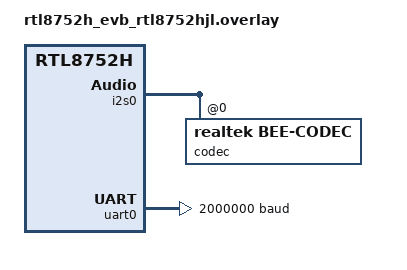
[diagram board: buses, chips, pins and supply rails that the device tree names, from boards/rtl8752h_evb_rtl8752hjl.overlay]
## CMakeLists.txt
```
# SPDX-License-Identifier: Apache-2.0

cmake_minimum_required(VERSION 3.20.0)

find_package(Zephyr REQUIRED HINTS $ENV{ZEPHYR_BASE})
project(i2s_bee)

target_sources(app PRIVATE src/main.c)
```

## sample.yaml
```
sample:
  name: Realtek Bee I2S TX/RX with CODEC
common:
  tags: i2s audio
tests:
  sample.drivers.i2s.bee:
    build_only: true
    platform_allow:
      - rtl8752h_evb/rtl8752hjl
      - rtl87x2g_evb_a/rtl8762gku
      - rtl87x2j_evb/rtl8762jth
    integration_platforms:
      - rtl87x2j_evb/rtl8762jth
```

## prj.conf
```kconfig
CONFIG_LOG=y
CONFIG_I2S=y
CONFIG_I2S_BEE=y
CONFIG_I2S_BEE_TX=y
CONFIG_I2S_BEE_RX=y
CONFIG_AUDIO=y
CONFIG_AUDIO_CODEC=y
CONFIG_AUDIO_CODEC_BEE=y
CONFIG_DMA=y
```

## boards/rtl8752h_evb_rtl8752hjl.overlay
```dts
/*
 * Copyright (c) 2026, Realtek Semiconductor Corporation
 *
 * SPDX-License-Identifier: Apache-2.0
 */

/ {
	aliases {
		dump-mic = &uart0;
		test-i2s = &i2s0;
		test-codec = &codec;
	};
};

&dma0 {
	status = "okay";
};

/* i2s_tx/i2s_rx/i2s_codec_rx */
&i2s0 {
	dmas = <&dma0 0 16 0x2a1>, <&dma0 1 17 0x648a>;
	dma-names = "tx", "rx";
	pinctrl-0 = <&i2s_default>;
	pinctrl-names = "default";
	status = "okay";

	/* internal codec tx/rx, delete if use external codec */
	codec: codec@0 {
		compatible = "realtek,bee-codec";
		reg = <0>;
		clocks = <&cctl APB_CLK(CODEC)>;
		channel-sequence = "l_l";
		mic-bias = "1_8";
		mic-bst-gain = "30dB";
		mic-bst-mode = "differential";
		mic-type = "amic"; /* amic */
		/* mic-type = "dmic"; /* dmic */
		dmic-data-latch = "rising_latch";
		ad-gain = <0x2f>;
		boost-gain = "0dB";
		pinctrl-0 = <&codec_default>;
		pinctrl-names = "default";
	};
};

&uart0 {
	pinctrl-0 = <&uart0_default>;
	pinctrl-names = "default";
	status = "okay";
	current-speed = <2000000>;
	parity = "none";
	stop-bits = "1";
	data-bits = <8>;
};

&pinctrl {
	i2s_default: i2s_default {
		group1 {
			psels = <BEE_PSEL(LRC_SPORT0, P4_0)>,
				<BEE_PSEL(BCLK_SPORT0, P4_1)>, /* i2s_tx/i2s_codec_rx waveform */
				<BEE_PSEL(DACDAT_SPORT0, P4_2)>; /* i2s_tx/i2s_codec_rx waveform */
			output-enable;
			output-low;
			bias-disable;
		};
	};

	codec_default: codec_default {
		group1 {
			psels = <BEE_PSEL(PWR_OFF, H_0)>, /* amic */
				<BEE_PSEL(PWR_OFF, P2_6)>, /* amic */
				<BEE_PSEL(PWR_OFF, P2_7)>; /* amic */
			/* <BEE_PSEL(DMIC1_CLK, P2_6)>, /* dmic */
			/* <BEE_PSEL(DMIC1_DAT, P2_7)>; /* dmic */
			output-disable;
			bias-disable;
		};
	};

	uart0_default: uart0_default {
		group1 {
			psels = <BEE_PSEL(UART0_TX, P0_0)>;
			output-enable;
			output-high;
			bias-pull-up;
		};
	};
};
```

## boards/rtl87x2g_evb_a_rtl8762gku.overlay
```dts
/*
 * Copyright (c) 2026, Realtek Semiconductor Corporation
 *
 * SPDX-License-Identifier: Apache-2.0
 */

/ {
	aliases {
		dump-mic = &uart0;
		test-i2s = &i2s0;
		test-codec = &codec;
	};
};

/* i2s_tx/i2s_rx/i2s_codec_tx/i2s_codec_rx */
&i2s0 {
	dmas = <&dma0 0 41 0x26a1>, <&dma0 1 42 0x648a>;
	dma-names = "tx", "rx";
	pinctrl-0 = <&i2s0_default>;
	pinctrl-names = "default";
	status = "okay";

	/* internal codec tx/rx, delete if use external codec */
	codec: codec@0 {
		compatible = "realtek,bee-codec";
		reg = <0>;
		clocks = <&cctl APB_CLK(CODEC)>;
		channel-sequence = "l_r";
		mic-bias = "1_8";
		mic-bst-gain = "30dB";
		mic-bst-mode = "differential";
		mic-type = "amic"; /* amic */
		/* mic-type = "dmic"; /* dmic */
		dmic-data-latch = "rising_latch";
		ad-gain = <0x2f>;
		boost-gain = "0dB";
		pinctrl-0 = <&codec_default>;
		pinctrl-names = "default";
		status = "okay";
	};
};

&dma0 {
	status = "okay";
};

&uart0 {
	pinctrl-0 = <&uart0_default>;
	pinctrl-names = "default";
	status = "okay";
	current-speed = <2000000>;
	parity = "none";
	stop-bits = "1";
	data-bits = <8>;
};

&pinctrl {
	i2s0_default: i2s0_default {
		group1 {
			psels = <BEE_PSEL(BCLK_SPORT0, P4_0)>,
				<BEE_PSEL(LRC_RX_SPORT0, P4_1)>, /* i2s_codec_rx waveform */
				<BEE_PSEL(LRC_SPORT0, P4_2)>, /* i2s_tx/i2s_codec_tx waveform */
				<BEE_PSEL(SDI_CODEC_SLAVE, P4_3)>, /* i2s_codec_rx/tx waveform */
				<BEE_PSEL(SDO_CODEC_SLAVE, P4_4)>, /* i2s_codec_rx/tx waveform */
				<BEE_PSEL(ADCDAT_SPORT0, P4_5)>, /* i2s_tx waveform */
				<BEE_PSEL(DACDAT_SPORT0, P4_6)>; /* i2s_tx waveform */
			output-enable;
			output-low;
			bias-disable;
		};
	};

	codec_default: codec_default {
		group1 {
			psels = <BEE_PSEL(PWR_OFF, P2_6)>, /* amic */
				<BEE_PSEL(PWR_OFF, P2_7)>, /* amic */
				<BEE_PSEL(PDM_CLK, P2_4)>, /* i2s_codec_tx waveform */
				<BEE_PSEL(PDM_DATA, P2_5)>; /* i2s_codec_tx waveform */
			/* <BEE_PSEL(DMIC1_CLK, P3_2)>, /* dmic */
			/* <BEE_PSEL(DMIC1_DAT, P3_3)>; /* dmic */
			output-disable;
			bias-disable;
		};
	};

	uart0_default: uart0_default {
		group1 {
			psels = <BEE_PSEL(UART0_TX, P0_0)>;
			output-enable;
			output-high;
			bias-pull-up;
		};
	};
};
```

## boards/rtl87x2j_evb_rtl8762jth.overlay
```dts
/*
 * Copyright (c) 2026, Realtek Semiconductor Corporation
 *
 * SPDX-License-Identifier: Apache-2.0
 */

/ {
	aliases {
		dump-mic = &uart0;
		test-i2s = &i2s0;
		test-codec = &codec;
	};
};

&dma0 {
	status = "okay";
};

/* i2s_tx/i2s_rx/i2s_codec_rx */
&i2s0 {
	dmas = <&dma0 0 16 0x26a1>, <&dma0 1 17 0x648a>;
	dma-names = "tx", "rx";
	pinctrl-0 = <&i2s0_default>;
	pinctrl-names = "default";
	status = "okay";

	/* internal codec rx, delete if use external codec */
	codec: codec@0 {
		compatible = "realtek,bee-codec";
		reg = <0>;
		clocks = <&cctl APB_CLK(CODEC)>;
		channel-sequence = "l_r";
		mic-bias = "1_8";
		mic-bst-gain = "30dB";
		mic-bst-mode = "differential";
		mic-type = "amic"; /* amic */
		/* mic-type = "dmic"; /* dmic */
		dmic-data-latch = "rising_latch";
		ad-gain = <0x2f>;
		boost-gain = "0dB";
		pinctrl-0 = <&codec_default>;
		pinctrl-names = "default";
		status = "okay";
	};
};

&uart0 {
	pinctrl-0 = <&uart0_default>;
	pinctrl-names = "default";
	status = "okay";
	current-speed = <2000000>;
	parity = "none";
	stop-bits = "1";
	data-bits = <8>;
};

&pinctrl {
	i2s0_default: i2s0_default {
		group1 {
			psels = <BEE_PSEL(BCLK_SPORT0, P2_0)>,
				<BEE_PSEL(LRC_SPORT0, P2_1)>, /* i2s_tx/i2s_codec_rx waveform */
				<BEE_PSEL(SDI_CODEC_SLAVE, P2_2)>, /* i2s_codec_rx waveform */
				<BEE_PSEL(SDO_CODEC_SLAVE, P2_3)>, /* i2s_codec_rx waveform */
				<BEE_PSEL(ADCDAT_SPORT0, P2_4)>, /* i2s_tx waveform */
				<BEE_PSEL(DACDAT_SPORT0, P2_5)>; /* i2s_tx waveform */
			output-disable;
			bias-disable;
		};
	};

	codec_default: codec_default {
		group1 {
			psels = <BEE_PSEL(PWR_OFF, P2_6)>, /* amic */
				<BEE_PSEL(PWR_OFF, P2_7)>; /* amic */
			/* <BEE_PSEL(DMIC1_CLK, P2_6)>, /* dmic */
			/* <BEE_PSEL(DMIC1_DAT, P2_7)>; /* dmic */
			output-disable;
			bias-disable;
		};

		group2 {
			psels = <BEE_PSEL(SW_MODE, MICBIAS)>; /* amic */
			output-enable;
			output-high;
			bias-disable;
		};
	};

	uart0_default: uart0_default {
		group1 {
			/* To avoid dummy data in RX fifo, which pulls qactive line */
			psels = <BEE_PSEL(UART0_TX, P0_0)>,
				<BEE_PSEL(UART0_RX, P0_1)>;
			output-disable;
			bias-pull-up;
		};
	};
};
```

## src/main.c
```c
/*
 * Copyright (c) 2026, Realtek Semiconductor Corporation
 *
 * SPDX-License-Identifier: Apache-2.0
 */

#include <zephyr/kernel.h>
#include <zephyr/device.h>
#include <string.h>
#include <stdio.h>
#include <zephyr/drivers/uart.h>
#include <zephyr/drivers/i2s.h>
#include <zephyr/audio/codec.h>

const struct device *dev_uart = DEVICE_DT_GET_OR_NULL(DT_ALIAS(dump_mic));
const struct device *dev_i2s = DEVICE_DT_GET_OR_NULL(DT_ALIAS(test_i2s));
const struct device *dev_codec = DEVICE_DT_GET_OR_NULL(DT_ALIAS(test_codec));

#define BLOCK_SIZE 256
#define NUM_RX_BLOCKS 2

K_MEM_SLAB_DEFINE(rx_mem_slab, BLOCK_SIZE, NUM_RX_BLOCKS, 32);
K_MEM_SLAB_DEFINE(tx_mem_slab, BLOCK_SIZE, NUM_RX_BLOCKS, 32);

#define TIMEOUT_SECONDS K_SECONDS(5)

static void i2s_timer_timeout(struct k_timer *timer);
K_TIMER_DEFINE(i2s_timer, i2s_timer_timeout, NULL);

uint8_t rx_buf[BLOCK_SIZE] __aligned(2);
uint8_t tx_buf[BLOCK_SIZE] __aligned(2);

volatile bool stop;

static void i2s_timer_timeout(struct k_timer *timer)
{
	k_timer_stop(timer);
	stop = true;
}

static void i2s_codec_rx_sample(void)
{
	int ret;

	struct audio_codec_cfg codec_cfg;
	audio_channel_t channel = AUDIO_CHANNEL_ALL;
	static audio_property_value_t val;

	if (!dev_codec) {
		printf("CODEC device not available on this board\n");
		return;
	}

	memset(&codec_cfg, 0, sizeof(struct audio_codec_cfg));
	codec_cfg.mclk_freq = 2500000;
	codec_cfg.dai_type = AUDIO_DAI_TYPE_I2S;
	codec_cfg.dai_cfg.i2s.frame_clk_freq = 16000;
	codec_cfg.dai_cfg.i2s.word_size = 16;
	codec_cfg.dai_cfg.i2s.channels = 1;
	codec_cfg.dai_cfg.i2s.format = I2S_FMT_DATA_FORMAT_I2S | I2S_FMT_DATA_ORDER_MSB;
	codec_cfg.dai_cfg.i2s.options =
		I2S_OPT_BIT_CLK_CONT | I2S_OPT_BIT_CLK_CONTROLLER |
		I2S_OPT_FRAME_CLK_CONTROLLER | I2S_OPT_PINGPONG;

	codec_cfg.dai_cfg.i2s.block_size = BLOCK_SIZE;
	codec_cfg.dai_cfg.i2s.mem_slab = &rx_mem_slab;
	codec_cfg.dai_cfg.i2s.timeout = SYS_FOREVER_MS;

	ret = audio_codec_configure(dev_codec, &codec_cfg);
	if (ret) {
		printf("[%s] ret%d line%d\n", __func__, ret, __LINE__);
	}

	val.vol = 0x2f;
	ret = audio_codec_set_property(dev_codec, AUDIO_PROPERTY_OUTPUT_VOLUME, channel, val);
	if (ret) {
		printf("[%s] ret%d line%d\n", __func__, ret, __LINE__);
	}

	ret = audio_codec_apply_properties(dev_codec);
	if (ret) {
		printf("[%s] ret%d line%d\n", __func__, ret, __LINE__);
	}

	/* init codec pin + init codec reg */
	audio_codec_start_output(dev_codec);

	/* enable i2s rcc + init i2s reg */
	codec_cfg.dai_cfg.i2s.frame_clk_freq = 16000;
	ret = i2s_configure(dev_i2s, I2S_DIR_RX, &codec_cfg.dai_cfg.i2s);
	if (ret) {
		printf("[%s] ret%d line%d\n", __func__, ret, __LINE__);
	}

	/* enable i2s + config dma + enable dma */
	ret = i2s_trigger(dev_i2s, I2S_DIR_RX, I2S_TRIGGER_START);
	if (ret) {
		printf("[%s] ret%d line%d\n", __func__, ret, __LINE__);
	}

	k_timer_start(&i2s_timer, TIMEOUT_SECONDS, K_NO_WAIT);
	while (!stop) {
		void *mem_block;
		size_t rx_size;
		const struct i2s_config *rx_cfg;

		ret = i2s_read(dev_i2s, &mem_block, &rx_size);
		if (ret) {
			printf("[%s] ret%d line%d\n", __func__, ret, __LINE__);
		}

		rx_cfg = i2s_config_get(dev_i2s, I2S_DIR_RX);
		memcpy(rx_buf, mem_block, rx_size);
		k_mem_slab_free(rx_cfg->mem_slab, mem_block);

		for (uint32_t i = 0; i < rx_size; i += 8) {
			uart_poll_out(dev_uart, rx_buf[i]);
			uart_poll_out(dev_uart, rx_buf[i + 1]);
			uart_poll_out(dev_uart, rx_buf[i + 2]);
			uart_poll_out(dev_uart, rx_buf[i + 3]);
			uart_poll_out(dev_uart, rx_buf[i + 4]);
			uart_poll_out(dev_uart, rx_buf[i + 5]);
			uart_poll_out(dev_uart, rx_buf[i + 6]);
			uart_poll_out(dev_uart, rx_buf[i + 7]);
		}
	}

	stop = false;

	/* disable i2s + disable dma */
	ret = i2s_trigger(dev_i2s, I2S_DIR_RX, I2S_TRIGGER_DROP);
	if (ret) {
		printf("[%s] ret%d line%d\n", __func__, ret, __LINE__);
	}

	/* disable i2s rcc */
	codec_cfg.dai_cfg.i2s.frame_clk_freq = 0;
	ret = i2s_configure(dev_i2s, I2S_DIR_RX, &codec_cfg.dai_cfg.i2s);
	if (ret) {
		printf("[%s] ret%d line%d\n", __func__, ret, __LINE__);
	}

	/* deinit codec */
	audio_codec_stop_output(dev_codec);
}

#if defined(CONFIG_SOC_SERIES_RTL87X2G)
static void i2s_codec_tx_sample(void)
{
	int ret;

	struct audio_codec_cfg codec_cfg;
	audio_channel_t channel = AUDIO_CHANNEL_ALL;
	static audio_property_value_t val;

	if (!dev_codec) {
		printf("CODEC not available on this board, skip %s\n", __func__);
		return;
	}

	memset(&codec_cfg, 0, sizeof(struct audio_codec_cfg));
	codec_cfg.mclk_freq = 2500000;
	codec_cfg.dai_type = AUDIO_DAI_TYPE_I2S;
	codec_cfg.dai_cfg.i2s.frame_clk_freq = 16000;
	codec_cfg.dai_cfg.i2s.word_size = 16;
	/* channels == 0 for i2s codec tx */
	codec_cfg.dai_cfg.i2s.channels = 0;
	codec_cfg.dai_cfg.i2s.format = I2S_FMT_DATA_FORMAT_I2S | I2S_FMT_DATA_ORDER_MSB;
	codec_cfg.dai_cfg.i2s.options =
		I2S_OPT_BIT_CLK_CONT | I2S_OPT_BIT_CLK_CONTROLLER |
		I2S_OPT_FRAME_CLK_CONTROLLER | I2S_OPT_PINGPONG;

	codec_cfg.dai_cfg.i2s.block_size = BLOCK_SIZE;
	codec_cfg.dai_cfg.i2s.mem_slab = &tx_mem_slab;
	codec_cfg.dai_cfg.i2s.timeout = SYS_FOREVER_MS;

	ret = audio_codec_configure(dev_codec, &codec_cfg);
	if (ret) {
		printf("[%s] ret%d line%d\n", __func__, ret, __LINE__);
	}

	val.vol = 0x2f;
	ret = audio_codec_set_property(dev_codec, AUDIO_PROPERTY_OUTPUT_VOLUME, channel, val);
	if (ret) {
		printf("[%s] ret%d line%d\n", __func__, ret, __LINE__);
	}

	ret = audio_codec_apply_properties(dev_codec);
	if (ret) {
		printf("[%s] ret%d line%d\n", __func__, ret, __LINE__);
	}

	/* init codec pin + init codec reg */
	audio_codec_start_output(dev_codec);

	/* enable i2s rcc + init i2s reg */
	codec_cfg.dai_cfg.i2s.frame_clk_freq = 16000;

	ret = i2s_configure(dev_i2s, I2S_DIR_TX, &codec_cfg.dai_cfg.i2s);
	if (ret) {
		printf("[%s] ret%d line%d\n", __func__, ret, __LINE__);
	}

	for (uint32_t i = 0; i < BLOCK_SIZE / 2; i++) {
		((uint16_t *)tx_buf)[i] = i;
	}

	ret = i2s_buf_write(dev_i2s, tx_buf, BLOCK_SIZE);
	if (ret) {
		printf("[%s] ret%d line%d\n", __func__, ret, __LINE__);
	}

	ret = i2s_trigger(dev_i2s, I2S_DIR_TX, I2S_TRIGGER_START);
	if (ret) {
		printf("[%s] ret%d line%d\n", __func__, ret, __LINE__);
	}

	k_timer_start(&i2s_timer, TIMEOUT_SECONDS, K_NO_WAIT);
	while (!stop) {
		ret = i2s_buf_write(dev_i2s, tx_buf, BLOCK_SIZE);
		if (ret) {
			printf("[%s] ret%d line%d\n", __func__, ret, __LINE__);
		}
	}

	stop = false;

	/* disable i2s + disable dma */
	ret = i2s_trigger(dev_i2s, I2S_DIR_TX, I2S_TRIGGER_DROP);
	if (ret) {
		printf("[%s] ret%d line%d\n", __func__, ret, __LINE__);
	}

	/* disable i2s rcc */
	codec_cfg.dai_cfg.i2s.frame_clk_freq = 0;
	ret = i2s_configure(dev_i2s, I2S_DIR_TX, &codec_cfg.dai_cfg.i2s);
	if (ret) {
		printf("[%s] ret%d line%d\n", __func__, ret, __LINE__);
	}

	/* deinit codec */
	audio_codec_stop_output(dev_codec);
}
#endif

#if defined(CONFIG_SOC_SERIES_RTL8752H) || defined(CONFIG_SOC_SERIES_RTL87X2J)
static void i2s_tx_sample(void)
{
	struct i2s_config i2s_cfg;
	int ret;

	memset(&i2s_cfg, 0, sizeof(struct i2s_config));
	i2s_cfg.frame_clk_freq = 16000;
	i2s_cfg.word_size = 16;
	i2s_cfg.channels = 1;
	i2s_cfg.format = I2S_FMT_DATA_FORMAT_I2S | I2S_FMT_DATA_ORDER_MSB;
	i2s_cfg.options =
		I2S_OPT_BIT_CLK_CONT | I2S_OPT_BIT_CLK_CONTROLLER |
		I2S_OPT_FRAME_CLK_CONTROLLER | I2S_OPT_PINGPONG;

	i2s_cfg.block_size = BLOCK_SIZE;
	i2s_cfg.mem_slab = &tx_mem_slab;
	i2s_cfg.timeout = SYS_FOREVER_MS;

	ret = i2s_configure(dev_i2s, I2S_DIR_TX, &i2s_cfg);
	if (ret) {
		printf("[%s] ret%d line%d\n", __func__, ret, __LINE__);
	}

	for (uint32_t i = 0; i < BLOCK_SIZE / 2; i++) {
		((uint16_t *)tx_buf)[i] = i;
	}

	ret = i2s_buf_write(dev_i2s, tx_buf, BLOCK_SIZE);
	if (ret) {
		printf("[%s] ret%d line%d\n", __func__, ret, __LINE__);
	}

	ret = i2s_trigger(dev_i2s, I2S_DIR_TX, I2S_TRIGGER_START);
	if (ret) {
		printf("[%s] ret%d line%d\n", __func__, ret, __LINE__);
	}

	k_timer_start(&i2s_timer, TIMEOUT_SECONDS, K_NO_WAIT);
	while (!stop) {
		ret = i2s_buf_write(dev_i2s, tx_buf, BLOCK_SIZE);
		if (ret) {
			printf("[%s] ret%d line%d\n", __func__, ret, __LINE__);
		}
	}

	stop = false;

	/* disable i2s + disable dma */
	ret = i2s_trigger(dev_i2s, I2S_DIR_TX, I2S_TRIGGER_DROP);
	if (ret) {
		printf("[%s] ret%d line%d\n", __func__, ret, __LINE__);
	}

	/* disable i2s rcc */
	i2s_cfg.frame_clk_freq = 0;
	ret = i2s_configure(dev_i2s, I2S_DIR_TX, &i2s_cfg);
	if (ret) {
		printf("[%s] ret%d line%d\n", __func__, ret, __LINE__);
	}
}
#endif

int main(void)
{
	printf("I2S Bee sample started\n");
	i2s_codec_rx_sample();

#if defined(CONFIG_SOC_SERIES_RTL87X2G)
	/* I2S + Internal CODEC TX tests for RTL87x2G.
	 * Only RTL87x2G Internal CODEC supports TX.
	 * RTL8752H/RTL87X2J Internal CODEC un-supports TX.
	 */
	i2s_codec_tx_sample();
#endif

#if defined(CONFIG_SOC_SERIES_RTL8752H) || defined(CONFIG_SOC_SERIES_RTL87X2J)
	/* I2S TX tests for RTL8752H/RTL87X2J. */
	i2s_tx_sample();
#endif

	return 0;
}
```
